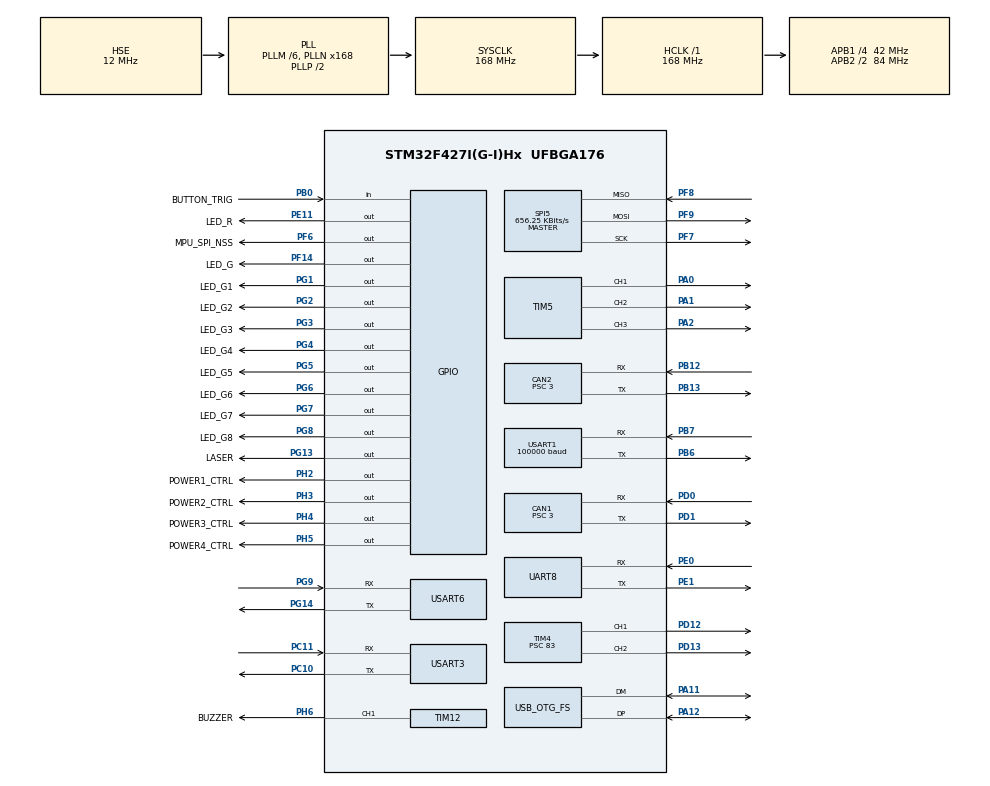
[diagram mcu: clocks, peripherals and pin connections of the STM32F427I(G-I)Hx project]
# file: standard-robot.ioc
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Dma.USART6_TX.3.MemInc=DMA_MINC_ENABLE
Dma.USART6_TX.3.PeriphInc=DMA_PINC_DISABLE
PG6.PinState=GPIO_PIN_SET
PG2.GPIO_PuPd=GPIO_PULLUP
PF14.PinState=GPIO_PIN_SET
PG4.Signal=GPIO_Output
PG8.Signal=GPIO_Output
PG6.GPIO_Label=LED_G6
PH6.GPIO_Label=BUZZER
Dma.USART3_TX.1.PeriphDataAlignment=DMA_PDATAALIGN_BYTE
PE11.PinState=GPIO_PIN_SET
VP_RTC_VS_RTC_Activate.Mode=RTC_Enabled
PG5.GPIO_ModeDefaultOutputPP=GPIO_MODE_OUTPUT_PP
Dma.USART3_TX.1.Instance=DMA1_Stream3
PB13.Signal=CAN2_TX
PG13.Signal=GPIO_Output
PF6.GPIO_Label=MPU_SPI_NSS
RCC.SYSCLKSource=RCC_SYSCLKSOURCE_PLLCLK
FREERTOS.configENABLE_FPU=0
FREERTOS.INCLUDE_pcTaskGetTaskName=1
PH5.Signal=GPIO_Output
RTC.SynchPrediv=3199
PF7.Signal=SPI5_SCK
NVIC.CAN1_TX_IRQn=true\:5\:0\:false\:false\:true\:true\:true\:true
PG2.GPIO_ModeDefaultOutputPP=GPIO_MODE_OUTPUT_PP
RCC.APB2TimFreq_Value=168000000
PB6.Signal=USART1_TX
PH1/OSC_OUT.Signal=RCC_OSC_OUT
PB6.Mode=Asynchronous
PD0.Signal=CAN1_RX
Dma.UART8_TX.4.Priority=DMA_PRIORITY_LOW
Dma.UART8_RX.5.PeriphInc=DMA_PINC_DISABLE
PE1.Signal=UART8_TX
PF14.GPIO_Speed=GPIO_SPEED_FREQ_VERY_HIGH
TIM12.Period=31111
PG14.Mode=Asynchronous
PG6.GPIO_PuPd=GPIO_PULLUP
SH.S_TIM12_CH1.0=TIM12_CH1,PWM Generation1 CH1
PG4.GPIO_Label=LED_G4
SH.S_TIM4_CH2.0=TIM4_CH2,PWM Generation2 CH2
PF8.Mode=Full_Duplex_Master
TIM4.Period=19999
PF14.GPIO_PuPd=GPIO_PULLUP
PH3.GPIO_PuPd=GPIO_PULLUP
Dma.USART3_TX.1.FIFOMode=DMA_FIFOMODE_DISABLE
Dma.USART3_TX.1.Priority=DMA_PRIORITY_VERY_HIGH
CAN1.Prescaler=3
Mcu.Package=UFBGA176
NVIC.TimeBase=TIM3_IRQn
PD12.Signal=S_TIM4_CH1
NVIC.TimeBaseIP=TIM3
PC11.Mode=Asynchronous
PH4.PinState=GPIO_PIN_SET
Dma.UART8_TX.4.MemInc=DMA_MINC_ENABLE
SPI5.CalculateBaudRate=656.25 KBits/s
PH2.Signal=GPIO_Output
PG8.GPIO_Speed=GPIO_SPEED_FREQ_VERY_HIGH
RCC.APB2CLKDivider=RCC_HCLK_DIV2
NVIC.DMA2_Stream2_IRQn=true\:5\:0\:false\:false\:true\:true\:false\:true
SH.S_TIM4_CH1.0=TIM4_CH1,PWM Generation1 CH1
PF14.Signal=GPIO_Output
RCC.APB1TimFreq_Value=84000000
PG1.PinState=GPIO_PIN_SET
PB13.Mode=CAN_Activate
Dma.USART3_TX.1.PeriphInc=DMA_PINC_DISABLE
NVIC.USART1_IRQn=true\:5\:0\:false\:false\:false\:true\:true\:true
NVIC.DMA1_Stream6_IRQn=true\:5\:0\:false\:false\:true\:true\:false\:true
CAN1.CalculateTimeBit=999.99
SPI5.VirtualType=VM_MASTER
PG6.GPIO_Speed=GPIO_SPEED_FREQ_VERY_HIGH
CAN1.CalculateTimeQuantum=71.42857142857143
Dma.UART8_RX.5.PeriphDataAlignment=DMA_PDATAALIGN_BYTE
CAN2.CalculateBaudRate=1000000
Dma.USART3_TX.1.MemDataAlignment=DMA_MDATAALIGN_BYTE
NVIC.CAN2_TX_IRQn=true\:5\:0\:false\:false\:true\:true\:true\:true
NVIC.UART8_IRQn=true\:5\:0\:false\:false\:true\:true\:true\:true
FREERTOS.Tasks01=USBTask,24,1280,usb_task,As weak,NULL,Dynamic,NULL,NULL;ChassisTask,32,512,chassis_task,As weak,NULL,Dynamic,NULL,NULL;GimbalTask,40,512,gimbal_task,As weak,NULL,Dynamic,NULL,NULL;IMUTask,48,1024,INS_task1,As weak,NULL,Dynamic,NULL,NULL;DetectTask,24,256,detect_task,As weak,NULL,Dynamic,NULL,NULL
PE11.GPIO_Speed=GPIO_SPEED_FREQ_VERY_HIGH
FREERTOS.INCLUDE_xTaskGetCurrentTaskHandle=1
PG5.Signal=GPIO_Output
PG9.Signal=USART6_RX
CAN2.SJW=CAN_SJW_1TQ
PE1.Mode=Asynchronous
CAN1.CalculateBaudRate=1000000
PG9.Mode=Asynchronous
PD1.Signal=CAN1_TX
PF14.GPIO_Label=LED_G
TIM5.Channel-PWM\ Generation3\ CH3=TIM_CHANNEL_3
PF14.GPIO_ModeDefaultOutputPP=GPIO_MODE_OUTPUT_PP
NVIC.DMA2_Stream1_IRQn=true\:5\:0\:false\:false\:true\:true\:false\:true
PH5.PinState=GPIO_PIN_SET
RCC.APB1CLKDivider=RCC_HCLK_DIV4
UART8.VirtualMode=Asynchronous
Dma.UART8_TX.4.Direction=DMA_MEMORY_TO_PERIPH
PG13.GPIO_Label=LASER
PG8.GPIO_PuPd=GPIO_PULLUP
Dma.UART8_RX.5.FIFOMode=DMA_FIFOMODE_DISABLE
PG2.PinState=GPIO_PIN_SET
PG5.PinState=GPIO_PIN_SET
Dma.USART1_RX.0.Direction=DMA_PERIPH_TO_MEMORY
PG7.PinState=GPIO_PIN_SET
NVIC.DMA2_Stream6_IRQn=true\:5\:0\:false\:false\:true\:true\:false\:true
Dma.USART1_RX.0.PeriphInc=DMA_PINC_DISABLE
TIM12.Prescaler=1281
Dma.USART6_TX.3.Direction=DMA_MEMORY_TO_PERIPH
Dma.UART8_RX.5.MemDataAlignment=DMA_MDATAALIGN_BYTE
PD1.Mode=CAN_Activate
Dma.UART8_TX.4.PeriphInc=DMA_PINC_DISABLE
NVIC.TIM3_IRQn=true\:0\:0\:false\:false\:true\:false\:false\:true
PH2.PinState=GPIO_PIN_SET
PG7.GPIO_Label=LED_G7
Dma.UART8_TX.4.FIFOMode=DMA_FIFOMODE_DISABLE
CAN2.ABOM=ENABLE
FREERTOS.INCLUDE_xEventGroupSetBitFromISR=1
PA13.Mode=Serial_Wire
PG1.GPIO_Speed=GPIO_SPEED_FREQ_VERY_HIGH
CAN1.SJW=CAN_SJW_1TQ
TIM5.Channel-PWM\ Generation2\ CH2=TIM_CHANNEL_2
USART1.VirtualMode=VM_ASYNC
Dma.UART8_TX.4.Instance=DMA1_Stream0
PA11.Signal=USB_OTG_FS_DM
TIM5.Channel-PWM\ Generation1\ CH1=TIM_CHANNEL_1
ProjectManager.HeapSize=0x2000
PH6.Signal=S_TIM12_CH1
PF9.Signal=SPI5_MOSI
VP_TIM4_VS_ClockSourceINT.Mode=Internal
NVIC.PriorityGroup=NVIC_PRIORITYGROUP_4
PF6.GPIO_PuPd=GPIO_PULLUP
PG3.GPIO_Label=LED_G3
PG5.GPIO_Speed=GPIO_SPEED_FREQ_VERY_HIGH
Dma.USART6_RX.2.PeriphInc=DMA_PINC_DISABLE
PB0.Signal=GPIO_Input
PH2.GPIO_Label=POWER1_CTRL
NVIC.CAN1_RX0_IRQn=true\:5\:0\:false\:false\:true\:true\:true\:true
PF6.GPIO_Speed=GPIO_SPEED_FREQ_VERY_HIGH
Mcu.Family=STM32F4
NVIC.USART3_IRQn=true\:5\:0\:false\:false\:true\:true\:true\:true
USB_DEVICE.CLASS_NAME_FS=CDC
RCC.CortexFreq_Value=168000000
PG6.Signal=GPIO_Output
NVIC.CAN2_RX0_IRQn=true\:5\:0\:false\:false\:true\:true\:true\:true
PG2.Signal=GPIO_Output
PE11.GPIO_Label=LED_R
CAN2.CalculateTimeBit=999.99
USART1.BaudRate=100000
Dma.USART6_RX.2.Direction=DMA_PERIPH_TO_MEMORY
Dma.USART3_TX.1.MemInc=DMA_MINC_ENABLE
PC10.Signal=USART3_TX
SH.S_TIM5_CH2.0=TIM5_CH2,PWM Generation2 CH2
PA11.Mode=Device_Only
PA0/WKUP.Signal=S_TIM5_CH1
PB0.GPIO_Label=BUTTON_TRIG
USB_DEVICE.VirtualMode-CDC_FS=Cdc
PH5.GPIO_Label=POWER4_CTRL
PH2.GPIO_Speed=GPIO_SPEED_FREQ_LOW
PG5.GPIO_Label=LED_G5
Dma.USART6_RX.2.MemDataAlignment=DMA_MDATAALIGN_BYTE
ProjectManager.StackSize=0x2000
PG3.GPIO_PuPd=GPIO_PULLUP
PG2.GPIO_Speed=GPIO_SPEED_FREQ_VERY_HIGH
PH2.GPIO_PuPd=GPIO_PULLUP
VP_FREERTOS_VS_CMSIS_V2.Mode=CMSIS_V2
Dma.USART6_TX.3.PeriphDataAlignment=DMA_PDATAALIGN_BYTE
PD13.Signal=S_TIM4_CH2
PA12.Signal=USB_OTG_FS_DP
PF6.PinState=GPIO_PIN_SET
Dma.USART6_TX.3.Priority=DMA_PRIORITY_LOW
PE11.GPIO_PuPd=GPIO_PULLUP
PH0/OSC_IN.Mode=HSE-External-Oscillator
PG3.GPIO_ModeDefaultOutputPP=GPIO_MODE_OUTPUT_PP
RCC.HCLKFreq_Value=168000000
Dma.UART8_RX.5.Instance=DMA1_Stream6
SH.S_TIM5_CH3.0=TIM5_CH3,PWM Generation3 CH3
Dma.USART6_RX.2.Instance=DMA2_Stream1
PG5.GPIO_PuPd=GPIO_PULLUP
Dma.UART8_RX.5.MemInc=DMA_MINC_ENABLE
RCC.AHBFreq_Value=168000000
Dma.USART1_RX.0.Priority=DMA_PRIORITY_VERY_HIGH
RCC.HSE_VALUE=12000000
Dma.USART3_TX.1.Mode=DMA_NORMAL
PG13.GPIO_PuPd=GPIO_PULLUP
Dma.USART6_RX.2.Priority=DMA_PRIORITY_LOW
PH4.GPIO_PuPd=GPIO_PULLUP
PF9.Mode=Full_Duplex_Master
PE13.Signal=S_TIM1_CH3
PG4.GPIO_Speed=GPIO_SPEED_FREQ_VERY_HIGH
PA14.Mode=Serial_Wire
CAN2.Prescaler=3
RTC.AsynchPrediv=124
PB7.Signal=USART1_RX
PG7.GPIO_PuPd=GPIO_PULLUP
VP_TIM12_VS_ClockSourceINT.Mode=Internal
FREERTOS.INCLUDE_vTaskCleanUpResources=1
Dma.USART1_RX.0.MemInc=DMA_MINC_ENABLE
PH1/OSC_OUT.Mode=HSE-External-Oscillator
PG4.PinState=GPIO_PIN_SET
SPI5.BaudRatePrescaler=SPI_BAUDRATEPRESCALER_128
PB12.Mode=CAN_Activate
FREERTOS.INCLUDE_xTaskAbortDelay=1
CAN2.BS1=CAN_BS1_10TQ
CAN2.BS2=CAN_BS2_3TQ
USART6.VirtualMode=VM_ASYNC
NVIC.OTG_FS_IRQn=true\:5\:0\:false\:false\:true\:true\:false\:true
PG1.GPIO_PuPd=GPIO_PULLUP
USB_OTG_FS.VirtualMode=Device_Only
PF8.Signal=SPI5_MISO
Dma.UART8_TX.4.PeriphDataAlignment=DMA_PDATAALIGN_BYTE
PH3.GPIO_Label=POWER2_CTRL
Dma.USART1_RX.0.FIFOMode=DMA_FIFOMODE_DISABLE
PG8.PinState=GPIO_PIN_SET
Dma.USART6_TX.3.MemDataAlignment=DMA_MDATAALIGN_BYTE
Dma.Request2=USART6_RX
Dma.Request1=USART3_TX
Dma.Request4=UART8_TX
Dma.Request3=USART6_TX
SH.S_TIM5_CH1.0=TIM5_CH1,PWM Generation1 CH1
Dma.USART1_RX.0.Mode=DMA_NORMAL
Dma.Request5=UART8_RX
NVIC.DMA1_Stream0_IRQn=true\:5\:0\:false\:false\:true\:true\:false\:true
PG13.GPIO_Speed=GPIO_SPEED_FREQ_VERY_HIGH
Dma.Request0=USART1_RX
Dma.USART1_RX.0.Instance=DMA2_Stream2
PG2.GPIO_Label=LED_G2
TIM4.Channel-PWM\ Generation1\ CH1=TIM_CHANNEL_1
PG7.Signal=GPIO_Output
Dma.USART1_RX.0.PeriphDataAlignment=DMA_PDATAALIGN_BYTE
PG4.GPIO_ModeDefaultOutputPP=GPIO_MODE_OUTPUT_PP
USB_DEVICE.VirtualModeFS=Cdc_FS
PG3.Signal=GPIO_Output
PG1.Signal=GPIO_Output
PC11.Signal=USART3_RX
PC10.Mode=Asynchronous
Dma.USART6_TX.3.Mode=DMA_NORMAL
SPI5.Mode=SPI_MODE_MASTER
PH6.GPIO_PuPd=GPIO_PULLUP
NVIC.USART6_IRQn=true\:5\:0\:false\:false\:true\:true\:true\:true
PG8.GPIO_Label=LED_G8
PA13.Signal=SYS_JTMS-SWDIO
PF7.Mode=Full_Duplex_Master
VP_SYS_VS_tim3.Mode=TIM3
Dma.UART8_RX.5.Direction=DMA_PERIPH_TO_MEMORY
PH4.Signal=GPIO_Output
CAN1.BS2=CAN_BS2_3TQ
PF6.Signal=GPIO_Output
CAN1.BS1=CAN_BS1_10TQ
ProjectManager.TargetToolchain=STM32CubeIDE
Dma.USART6_RX.2.MemInc=DMA_MINC_ENABLE
PH5.GPIO_PuPd=GPIO_PULLUP
VP_USB_DEVICE_VS_USB_DEVICE_CDC_FS.Mode=CDC_FS
USART1.Parity=PARITY_EVEN
PH3.PinState=GPIO_PIN_SET
Dma.USART6_RX.2.PeriphDataAlignment=DMA_PDATAALIGN_BYTE
TIM4.Prescaler=83
PE11.Signal=GPIO_Output
RCC.LSE_VALUE=32768
PA1.Signal=S_TIM5_CH2
CAN1.ABOM=ENABLE
PG14.Signal=USART6_TX
board=custom
RCC.VCOOutputFreq_Value=336000000
PG1.GPIO_Label=LED_G1
Dma.USART6_RX.2.FIFOMode=DMA_FIFOMODE_DISABLE
PH4.GPIO_Label=POWER3_CTRL
Dma.USART6_RX.2.Mode=DMA_NORMAL
PG3.PinState=GPIO_PIN_SET
PH0/OSC_IN.Signal=RCC_OSC_IN
TIM12.Channel-PWM\ Generation1\ CH1=TIM_CHANNEL_1
TIM4.Channel-PWM\ Generation2\ CH2=TIM_CHANNEL_2
PG7.GPIO_Speed=GPIO_SPEED_FREQ_VERY_HIGH
RCC.APB2Freq_Value=84000000
CAN2.CalculateTimeQuantum=71.42857142857143
Dma.USART1_RX.0.MemDataAlignment=DMA_MDATAALIGN_BYTE
Mcu.Name=STM32F427I(G-I)Hx
PE0.Signal=UART8_RX
PD0.Mode=CAN_Activate
FREERTOS.INCLUDE_xSemaphoreGetMutexHolder=1
PA2.Signal=S_TIM5_CH3
Dma.UART8_TX.4.Mode=DMA_NORMAL
RCC.48MHZClocksFreq_Value=48000000
RCC.SYSCLKFreq_VALUE=168000000
PA12.Mode=Device_Only
Dma.UART8_RX.5.Priority=DMA_PRIORITY_LOW
Dma.UART8_TX.4.MemDataAlignment=DMA_MDATAALIGN_BYTE
USART3.VirtualMode=VM_ASYNC
PB7.Mode=Asynchronous
PA14.Signal=SYS_JTCK-SWCLK
PG3.GPIO_Speed=GPIO_SPEED_FREQ_VERY_HIGH
FREERTOS.INCLUDE_xTaskGetHandle=1
SH.S_TIM1_CH3.0=TIM1_CH3
Dma.USART6_TX.3.FIFOMode=DMA_FIFOMODE_DISABLE
PG4.GPIO_PuPd=GPIO_PULLUP
Dma.USART6_TX.3.Instance=DMA2_Stream6
RCC.HSI_VALUE=16000000
RCC.PLLQ=7
PH3.Signal=GPIO_Output
Dma.USART3_TX.1.Direction=DMA_MEMORY_TO_PERIPH
RCC.PLLM=6
RCC.PLLN=168
NVIC.DMA1_Stream3_IRQn=true\:5\:0\:false\:false\:true\:true\:false\:true
RCC.APB1Freq_Value=42000000
Dma.UART8_RX.5.Mode=DMA_NORMAL
PE0.Mode=Asynchronous
PB12.Signal=CAN2_RX
PH6.GPIO_Speed=GPIO_SPEED_FREQ_VERY_HIGH
PB0.GPIO_PuPd=GPIO_PULLUP
SPI5.Direction=SPI_DIRECTION_2LINES

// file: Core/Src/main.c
/* USER CODE BEGIN Header */
/**
  ******************************************************************************
  * @file           : main.c
  * @brief          : Main program body
  ******************************************************************************
  * @attention
  *
  * <h2><center>&copy; Copyright (c) 2021 STMicroelectronics.
  * All rights reserved.</center></h2>
  *
  * This software component is licensed by ST under BSD 3-Clause license,
  * the "License"; You may not use this file except in compliance with the
  * License. You may obtain a copy of the License at:
  *                        opensource.org/licenses/BSD-3-Clause
  *
  ******************************************************************************
  */
/* USER CODE END Header */
#include "main.h"
#include "cmsis_os.h"
#include "can.h"
#include "dma.h"
#include "rtc.h"
#include "spi.h"
#include "tim.h"
#include "usart.h"
#include "usb_device.h"
#include "gpio.h"

/* USER CODE BEGIN Includes */
#include "bsp_can.h"
#include "remote_control.h"

#include "chassis_task.h"
#include "detect_task.h"
#include "gimbal_task.h"
#include "INS_task.h"
/* USER CODE END Includes */

void SystemClock_Config(void);
void MX_FREERTOS_Init(void);

int main(void)
{

  /* MCU Configuration--------------------------------------------------------*/

  /* Reset of all peripherals, Initializes the Flash interface and the Systick. */
  HAL_Init();

  /* Configure the system clock */
  SystemClock_Config();

  /* Initialize all configured peripherals */
  MX_GPIO_Init();
  MX_DMA_Init();
  MX_USART1_UART_Init();
  MX_CAN1_Init();
  MX_CAN2_Init();
  MX_USART3_UART_Init();
  MX_RTC_Init();
  MX_TIM12_Init();
  MX_TIM4_Init();
  MX_SPI5_Init();
  MX_USART6_UART_Init();
  MX_UART8_Init();
  MX_TIM5_Init();
  /* USER CODE BEGIN 2 */
  can_filter_init();
  remote_control_init();
  /* USER CODE END 2 */

  /* Init scheduler */
  osKernelInitialize();  /* Call init function for freertos objects (in freertos.c) */
  MX_FREERTOS_Init();
  /* Start scheduler */
  osKernelStart();

  /* We should never get here as control is now taken by the scheduler */
  /* Infinite loop */
  while (1)
  {

  }
}

void SystemClock_Config(void)
{
  RCC_OscInitTypeDef RCC_OscInitStruct = {0};
  RCC_ClkInitTypeDef RCC_ClkInitStruct = {0};
  RCC_PeriphCLKInitTypeDef PeriphClkInitStruct = {0};

  /** Configure the main internal regulator output voltage
  */
  __HAL_RCC_PWR_CLK_ENABLE();
  __HAL_PWR_VOLTAGESCALING_CONFIG(PWR_REGULATOR_VOLTAGE_SCALE1);
  /** Initializes the RCC Oscillators according to the specified parameters
  * in the RCC_OscInitTypeDef structure.
  */
  RCC_OscInitStruct.OscillatorType = RCC_OSCILLATORTYPE_LSI|RCC_OSCILLATORTYPE_HSE;
  RCC_OscInitStruct.HSEState = RCC_HSE_ON;
  RCC_OscInitStruct.LSIState = RCC_LSI_ON;
  RCC_OscInitStruct.PLL.PLLState = RCC_PLL_ON;
  RCC_OscInitStruct.PLL.PLLSource = RCC_PLLSOURCE_HSE;
  RCC_OscInitStruct.PLL.PLLM = 6;
  RCC_OscInitStruct.PLL.PLLN = 168;
  RCC_OscInitStruct.PLL.PLLP = RCC_PLLP_DIV2;
  RCC_OscInitStruct.PLL.PLLQ = 7;
  if (HAL_RCC_OscConfig(&RCC_OscInitStruct) != HAL_OK)
  {
    Error_Handler();
  }
  /** Initializes the CPU, AHB and APB buses clocks
  */
  RCC_ClkInitStruct.ClockType = RCC_CLOCKTYPE_HCLK|RCC_CLOCKTYPE_SYSCLK
                              |RCC_CLOCKTYPE_PCLK1|RCC_CLOCKTYPE_PCLK2;
  RCC_ClkInitStruct.SYSCLKSource = RCC_SYSCLKSOURCE_PLLCLK;
  RCC_ClkInitStruct.AHBCLKDivider = RCC_SYSCLK_DIV1;
  RCC_ClkInitStruct.APB1CLKDivider = RCC_HCLK_DIV4;
  RCC_ClkInitStruct.APB2CLKDivider = RCC_HCLK_DIV2;

  if (HAL_RCC_ClockConfig(&RCC_ClkInitStruct, FLASH_LATENCY_5) != HAL_OK)
  {
    Error_Handler();
  }
  PeriphClkInitStruct.PeriphClockSelection = RCC_PERIPHCLK_RTC;
  PeriphClkInitStruct.RTCClockSelection = RCC_RTCCLKSOURCE_LSI;
  if (HAL_RCCEx_PeriphCLKConfig(&PeriphClkInitStruct) != HAL_OK)
  {
    Error_Handler();
  }
}

 /**
  * @brief  Period elapsed callback in non blocking mode
  * @note   This function is called  when TIM3 interrupt took place, inside
  * HAL_TIM_IRQHandler(). It makes a direct call to HAL_IncTick() to increment
  * a global variable "uwTick" used as application time base.
  * @param  htim : TIM handle
  * @retval None
  */
void HAL_TIM_PeriodElapsedCallback(TIM_HandleTypeDef *htim)
{
  if (htim->Instance == TIM3) {
    HAL_IncTick();
  }
}

void Error_Handler(void)
{
  __disable_irq();
  while (1)
  {
  }
}

/************************ (C) COPYRIGHT STMicroelectronics *****END OF FILE****/

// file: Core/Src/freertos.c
/* USER CODE BEGIN Header */
/**
  ******************************************************************************
  * File Name          : freertos.c
  * Description        : Code for freertos applications
  ******************************************************************************
  * @attention
  *
  * <h2><center>&copy; Copyright (c) 2021 STMicroelectronics.
  * All rights reserved.</center></h2>
  *
  * This software component is licensed by ST under Ultimate Liberty license
  * SLA0044, the "License"; You may not use this file except in compliance with
  * the License. You may obtain a copy of the License at:
  *                             www.st.com/SLA0044
  *
  ******************************************************************************
  */
/* USER CODE END Header */

#include "FreeRTOS.h"
#include "task.h"
#include "main.h"
#include "cmsis_os.h"

/* USER CODE BEGIN Includes */
#include "chassis_task.h"
#include "detect_task.h"
#include "gimbal_task.h"
#include "INS_task.h"
#include "usb_task.h"
#include "sdcard_task.h"
/* USER CODE END Includes */

/* Definitions for USBTask */
osThreadId_t USBTaskHandle;
const osThreadAttr_t USBTask_attributes = {
  .name = "USBTask",
  .stack_size = 1280 * 4,
  .priority = (osPriority_t) osPriorityNormal,
};
/* Definitions for ChassisTask */
osThreadId_t ChassisTaskHandle;
const osThreadAttr_t ChassisTask_attributes = {
  .name = "ChassisTask",
  .stack_size = 512 * 4,
  .priority = (osPriority_t) osPriorityAboveNormal,
};
/* Definitions for GimbalTask */
osThreadId_t GimbalTaskHandle;
const osThreadAttr_t GimbalTask_attributes = {
  .name = "GimbalTask",
  .stack_size = 512 * 4,
  .priority = (osPriority_t) osPriorityHigh,
};
/* Definitions for IMUTask */
osThreadId_t IMUTaskHandle;
const osThreadAttr_t IMUTask_attributes = {
  .name = "IMUTask",
  .stack_size = 1024 * 4,
  .priority = (osPriority_t) osPriorityRealtime,
};
/* Definitions for DetectTask */
osThreadId_t DetectTaskHandle;
const osThreadAttr_t DetectTask_attributes = {
  .name = "DetectTask",
  .stack_size = 256 * 4,
  .priority = (osPriority_t) osPriorityNormal,
};

void usb_task(void *argument);
void chassis_task(void *argument);
void gimbal_task(void *argument);
void INS_task1(void *argument);
void detect_task(void *argument);

extern void MX_USB_DEVICE_Init(void);
void MX_FREERTOS_Init(void); /* (MISRA C 2004 rule 8.1) */

void MX_FREERTOS_Init(void) {

  /* Create the thread(s) */
  /* creation of USBTask */
  USBTaskHandle = osThreadNew(usb_task, NULL, &USBTask_attributes);

  /* creation of ChassisTask */
  ChassisTaskHandle = osThreadNew(chassis_task, NULL, &ChassisTask_attributes);

  /* creation of GimbalTask */
  GimbalTaskHandle = osThreadNew(gimbal_task, NULL, &GimbalTask_attributes);

  /* creation of IMUTask */
  IMUTaskHandle = osThreadNew(INS_task1, NULL, &IMUTask_attributes);

  /* creation of DetectTask */
  DetectTaskHandle = osThreadNew(detect_task, NULL, &DetectTask_attributes);

}

__weak void usb_task(void *argument)
{
  /* init code for USB_DEVICE */
  MX_USB_DEVICE_Init();
  for(;;)
  {
    osDelay(1);
  }
}

__weak void chassis_task(void *argument)
{
  for(;;)
  {
    osDelay(1);
  }
}

__weak void gimbal_task(void *argument)
{
  for(;;)
  {
    osDelay(1);
  }
}

__weak void INS_task1(void *argument)
{
  for(;;)
  {
    osDelay(1);
  }
}

__weak void detect_task(void *argument)
{
  for(;;)
  {
    osDelay(1);
  }
}

/* USER CODE BEGIN Application */

/* USER CODE END Header_detect_task */
__weak void sdcard_task(void *argument)
{
  /* USER CODE BEGIN detect_task */
  /* Infinite loop */
  for(;;)
  {
    osDelay(1);
  }
  /* USER CODE END detect_task */
}

/* USER CODE END Application */

/************************ (C) COPYRIGHT STMicroelectronics *****END OF FILE****/
